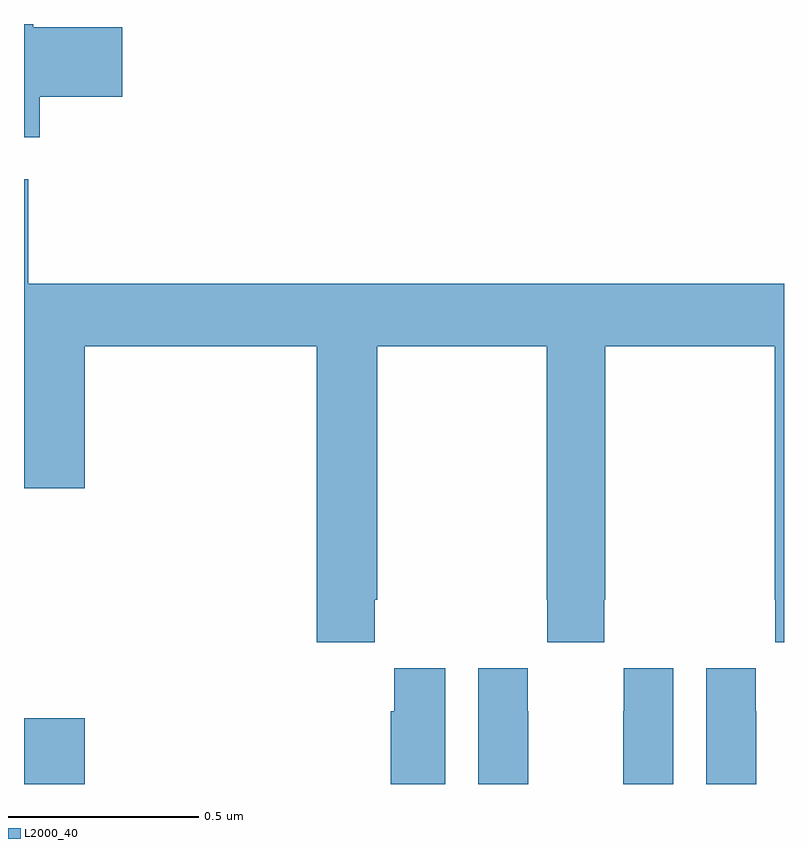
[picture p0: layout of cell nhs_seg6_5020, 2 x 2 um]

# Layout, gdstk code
import gdstk
lib = gdstk.Library(unit=1e-6, precision=1e-09)
def R(c, l, rs):  # rectangles x0, y0, x1, y1
    for r in rs: c.add(gdstk.rectangle(r[:2], r[2:], *l))
def P(c, l, *ps):  # polygons
    for p in ps: c.add(gdstk.Polygon(p, *l))
L2000_40 = (2000, 40)

nhs_seg6_5020 = lib.new_cell('nhs_seg6_5020')
R(nhs_seg6_5020, L2000_40, [(177,963.5,177.16,963.673)])
P(nhs_seg6_5020, L2000_40, [(177.041,965.309),(177.259,965.309),(177.259,965.492),(177.024,965.492),(177.024,965.5),(177,965.5),(177,965.202),(177.041,965.202)],
  [(177.923,963.985),(177.93,963.985),(177.93,964.652),(178.375,964.652),(178.375,963.985),(178.377,963.985),(178.377,963.873),(178.527,963.873),(178.527,963.985),(178.53,963.985),(178.53,964.652),(178.975,964.652),(178.975,963.985),(178.977,963.985),(178.977,963.873),(179,963.873),(179,964.816),(177.011,964.816),(177.011,965.092),(177,965.092),(177,964.278),(177.16,964.278),(177.16,964.652),(177.77,964.652),(177.77,963.873),(177.923,963.873)],
  [(178.108,963.805),(177.974,963.805),(177.974,963.692),(177.965,963.692),(177.965,963.5),(178.108,963.5)],
  [(178.327,963.692),(178.326,963.692),(178.326,963.805),(178.196,963.805),(178.196,963.5),(178.327,963.5)],
  [(178.708,963.805),(178.578,963.805),(178.578,963.692),(178.577,963.692),(178.577,963.5),(178.708,963.5)],
  [(178.927,963.692),(178.926,963.692),(178.926,963.805),(178.796,963.805),(178.796,963.5),(178.927,963.5)])

lib.write_gds('nhs_seg6_5020.gds')
